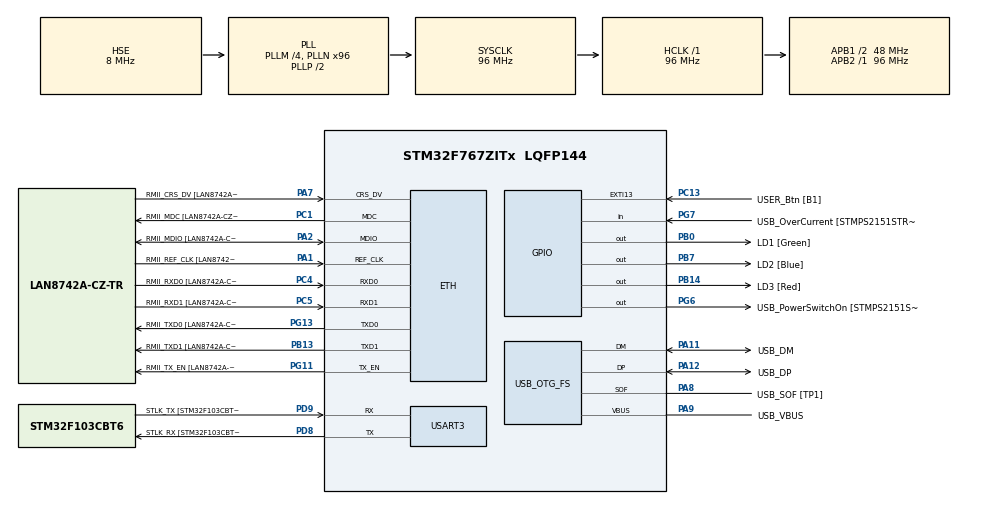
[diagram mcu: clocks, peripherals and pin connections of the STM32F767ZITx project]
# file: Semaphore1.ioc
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ETH.MediaInterface=HAL_ETH_RMII_MODE
ETH.PHY_Name=LAN8742A_PHY_ADDRESS
ETH.PHY_Value=0
ETH.PhyAddress=0
FREERTOS.CountingSemaphores01=CountingSem01,2,Dynamic,NULL,0
FREERTOS.Tasks01=Task01,24,128,StartDefaultTask,Default,NULL,Dynamic,NULL,NULL;Task02,24,128,StartTask02,Default,NULL,Dynamic,NULL,NULL;Task03,24,128,StartTask03,Default,NULL,Dynamic,NULL,NULL
FREERTOS.configUSE_NEWLIB_REENTRANT=1
Mcu.Family=STM32F7
Mcu.Name=STM32F767ZITx
Mcu.Package=LQFP144
NVIC.PriorityGroup=NVIC_PRIORITYGROUP_4
NVIC.TIM6_DAC_IRQn=true\:15\:0\:false\:false\:true\:false\:false\:true\:true
NVIC.TimeBase=TIM6_DAC_IRQn
NVIC.TimeBaseIP=TIM6
PA1.GPIO_Label=RMII_REF_CLK [LAN8742A-CZ-TR_REFCLK0]
PA1.Mode=RMII
PA1.Signal=ETH_REF_CLK
PA10.GPIO_Label=USB_ID
PA10.Signal=USB_OTG_FS_ID
PA11.GPIO_Label=USB_DM
PA11.Mode=Device_Only
PA11.Signal=USB_OTG_FS_DM
PA12.GPIO_Label=USB_DP
PA12.Mode=Device_Only
PA12.Signal=USB_OTG_FS_DP
PA13.GPIO_Label=TMS
PA13.Mode=Serial_Wire
PA13.Signal=SYS_JTMS-SWDIO
PA14.GPIO_Label=TCK
PA14.Mode=Serial_Wire
PA14.Signal=SYS_JTCK-SWCLK
PA2.GPIO_Label=RMII_MDIO [LAN8742A-CZ-TR_MDIO]
PA2.Mode=RMII
PA2.Signal=ETH_MDIO
PA7.GPIO_Label=RMII_CRS_DV [LAN8742A-CZ-TR_CRS_DV]
PA7.Mode=RMII
PA7.Signal=ETH_CRS_DV
PA8.GPIO_Label=USB_SOF [TP1]
PA8.Mode=Activate_SOF_FS
PA8.Signal=USB_OTG_FS_SOF
PA9.GPIO_Label=USB_VBUS
PA9.Mode=Activate_VBUS
PA9.Signal=USB_OTG_FS_VBUS
PB0.GPIO_Label=LD1 [Green]
PB0.Signal=GPIO_Output
PB13.GPIO_Label=RMII_TXD1 [LAN8742A-CZ-TR_TXD1]
PB13.Mode=RMII
PB13.Signal=ETH_TXD1
PB14.GPIO_Label=LD3 [Red]
PB14.Signal=GPIO_Output
PB3.GPIO_Label=SWO
PB3.Signal=SYS_JTDO-SWO
PB7.GPIO_Label=LD2 [Blue]
PB7.Signal=GPIO_Output
PC1.GPIO_Label=RMII_MDC [LAN8742A-CZ-TR_MDC]
PC1.Mode=RMII
PC1.Signal=ETH_MDC
PC13.GPIO_Label=USER_Btn [B1]
PC13.Signal=GPXTI13
PC14/OSC32_IN.Mode=LSE-External-Oscillator
PC14/OSC32_IN.Signal=RCC_OSC32_IN
PC15/OSC32_OUT.Mode=LSE-External-Oscillator
PC15/OSC32_OUT.Signal=RCC_OSC32_OUT
PC4.GPIO_Label=RMII_RXD0 [LAN8742A-CZ-TR_RXD0]
PC4.Mode=RMII
PC4.Signal=ETH_RXD0
PC5.GPIO_Label=RMII_RXD1 [LAN8742A-CZ-TR_RXD1]
PC5.Mode=RMII
PC5.Signal=ETH_RXD1
PD8.GPIO_Label=STLK_RX [STM32F103CBT6_PA3]
PD8.Mode=Asynchronous
PD8.Signal=USART3_TX
PD9.GPIO_Label=STLK_TX [STM32F103CBT6_PA2]
PD9.Mode=Asynchronous
PD9.Signal=USART3_RX
PG11.GPIO_Label=RMII_TX_EN [LAN8742A-CZ-TR_TXEN]
PG11.Mode=RMII
PG11.Signal=ETH_TX_EN
PG13.GPIO_Label=RMII_TXD0 [LAN8742A-CZ-TR_TXD0]
PG13.Mode=RMII
PG13.Signal=ETH_TXD0
PG6.GPIO_Label=USB_PowerSwitchOn [STMPS2151STR_EN]
PG6.Signal=GPIO_Output
PG7.GPIO_Label=USB_OverCurrent [STMPS2151STR_FAULT]
PG7.Signal=GPIO_Input
PH0/OSC_IN.GPIO_Label=MCO [STM32F103CBT6_PA8]
PH0/OSC_IN.Mode=HSE-External-Clock-Source
PH0/OSC_IN.Signal=RCC_OSC_IN
PH1/OSC_OUT.Mode=HSE-External-Clock-Source
PH1/OSC_OUT.Signal=RCC_OSC_OUT
ProjectManager.HeapSize=0x200
ProjectManager.StackSize=0x400
ProjectManager.TargetToolchain=STM32CubeIDE
RCC.48MHZClocksFreq_Value=24000000
RCC.AHBFreq_Value=96000000
RCC.APB1CLKDivider=RCC_HCLK_DIV2
RCC.APB1Freq_Value=48000000
RCC.APB1TimFreq_Value=96000000
RCC.APB2Freq_Value=96000000
RCC.APB2TimFreq_Value=96000000
RCC.CortexFreq_Value=96000000
RCC.HCLKFreq_Value=96000000
RCC.HSE_VALUE=8000000
RCC.HSI_VALUE=16000000
RCC.PLLM=4
RCC.PLLMUL=RCC_PLL_MUL9
RCC.PLLN=96
RCC.PLLQ=4
RCC.PRESCALERUSB=RCC_USBCLKSOURCE_PLL_DIV1_5
RCC.SYSCLKFreq_VALUE=96000000
RCC.SYSCLKSource=RCC_SYSCLKSOURCE_PLLCLK
RCC.SYSCLKSourceVirtual=RCC_SYSCLKSOURCE_PLLCLK
RCC.USBFreq_Value=48000000
RCC.VCOOutputFreq_Value=192000000
USART3.VirtualMode-Asynchronous=VM_ASYNC
USB_OTG_FS.VirtualMode=Device_Only
VP_FREERTOS_VS_CMSIS_V2.Mode=CMSIS_V2
VP_SYS_VS_tim6.Mode=TIM6
board=NUCLEO-F767ZI

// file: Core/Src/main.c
/* USER CODE BEGIN Header */
/**
  ******************************************************************************
  * @file           : main.c
  * @brief          : Main program body
  ******************************************************************************
  * @attention
  *
  * Copyright (c) 2025 STMicroelectronics.
  * All rights reserved.
  *
  * This software is licensed under terms that can be found in the LICENSE file
  * in the root directory of this software component.
  * If no LICENSE file comes with this software, it is provided AS-IS.
  *
  ******************************************************************************
  */
/* USER CODE END Header */
#include "main.h"
#include "string.h"
#include "cmsis_os.h"

#if defined ( __ICCARM__ ) /*!< IAR Compiler */
#pragma location=0x2007c000
ETH_DMADescTypeDef  DMARxDscrTab[ETH_RX_DESC_CNT]; /* Ethernet Rx DMA Descriptors */
#pragma location=0x2007c0a0
ETH_DMADescTypeDef  DMATxDscrTab[ETH_TX_DESC_CNT]; /* Ethernet Tx DMA Descriptors */

#elif defined ( __CC_ARM )  /* MDK ARM Compiler */

__attribute__((at(0x2007c000))) ETH_DMADescTypeDef  DMARxDscrTab[ETH_RX_DESC_CNT]; /* Ethernet Rx DMA Descriptors */
__attribute__((at(0x2007c0a0))) ETH_DMADescTypeDef  DMATxDscrTab[ETH_TX_DESC_CNT]; /* Ethernet Tx DMA Descriptors */

#elif defined ( __GNUC__ ) /* GNU Compiler */

ETH_DMADescTypeDef DMARxDscrTab[ETH_RX_DESC_CNT] __attribute__((section(".RxDecripSection"))); /* Ethernet Rx DMA Descriptors */
ETH_DMADescTypeDef DMATxDscrTab[ETH_TX_DESC_CNT] __attribute__((section(".TxDecripSection")));   /* Ethernet Tx DMA Descriptors */
#endif

ETH_TxPacketConfig TxConfig;

ETH_HandleTypeDef heth;

UART_HandleTypeDef huart3;

PCD_HandleTypeDef hpcd_USB_OTG_FS;

/* Definitions for Task01 */
osThreadId_t Task01Handle;
const osThreadAttr_t Task01_attributes = {
  .name = "Task01",
  .stack_size = 128 * 4,
  .priority = (osPriority_t) osPriorityNormal,
};
/* Definitions for Task02 */
osThreadId_t Task02Handle;
const osThreadAttr_t Task02_attributes = {
  .name = "Task02",
  .stack_size = 128 * 4,
  .priority = (osPriority_t) osPriorityNormal,
};
/* Definitions for Task03 */
osThreadId_t Task03Handle;
const osThreadAttr_t Task03_attributes = {
  .name = "Task03",
  .stack_size = 128 * 4,
  .priority = (osPriority_t) osPriorityNormal,
};
/* Definitions for CountingSem01 */
osSemaphoreId_t CountingSem01Handle;
const osSemaphoreAttr_t CountingSem01_attributes = {
  .name = "CountingSem01"
};
/* USER CODE BEGIN PV */
int __io_putchar(int ch) {
	HAL_UART_Transmit(&huart3,(uint8_t*)&ch,1,HAL_MAX_DELAY); return ch;
}
/* USER CODE END PV */

void SystemClock_Config(void);
static void MX_GPIO_Init(void);
static void MX_ETH_Init(void);
static void MX_USART3_UART_Init(void);
static void MX_USB_OTG_FS_PCD_Init(void);
void StartDefaultTask(void *argument);
void StartTask02(void *argument);
void StartTask03(void *argument);

int main(void)
{

  /* MCU Configuration--------------------------------------------------------*/

  /* Reset of all peripherals, Initializes the Flash interface and the Systick. */
  HAL_Init();

  /* Configure the system clock */
  SystemClock_Config();

  /* Initialize all configured peripherals */
  MX_GPIO_Init();
  MX_ETH_Init();
  MX_USART3_UART_Init();
  MX_USB_OTG_FS_PCD_Init();

  /* Init scheduler */
  osKernelInitialize();

  /* Create the semaphores(s) */
  /* creation of CountingSem01 */
  CountingSem01Handle = osSemaphoreNew(2, 2, &CountingSem01_attributes);

  /* Create the thread(s) */
  /* creation of Task01 */
  Task01Handle = osThreadNew(StartDefaultTask, NULL, &Task01_attributes);

  /* creation of Task02 */
  Task02Handle = osThreadNew(StartTask02, NULL, &Task02_attributes);

  /* creation of Task03 */
  Task03Handle = osThreadNew(StartTask03, NULL, &Task03_attributes);

  /* Start scheduler */
  osKernelStart();

  /* We should never get here as control is now taken by the scheduler */

  /* Infinite loop */
  while (1)
  {

  }
}

void SystemClock_Config(void)
{
  RCC_OscInitTypeDef RCC_OscInitStruct = {0};
  RCC_ClkInitTypeDef RCC_ClkInitStruct = {0};

  /** Configure LSE Drive Capability
  */
  HAL_PWR_EnableBkUpAccess();

  /** Configure the main internal regulator output voltage
  */
  __HAL_RCC_PWR_CLK_ENABLE();
  __HAL_PWR_VOLTAGESCALING_CONFIG(PWR_REGULATOR_VOLTAGE_SCALE3);

  /** Initializes the RCC Oscillators according to the specified parameters
  * in the RCC_OscInitTypeDef structure.
  */
  RCC_OscInitStruct.OscillatorType = RCC_OSCILLATORTYPE_HSE;
  RCC_OscInitStruct.HSEState = RCC_HSE_BYPASS;
  RCC_OscInitStruct.PLL.PLLState = RCC_PLL_ON;
  RCC_OscInitStruct.PLL.PLLSource = RCC_PLLSOURCE_HSE;
  RCC_OscInitStruct.PLL.PLLM = 4;
  RCC_OscInitStruct.PLL.PLLN = 96;
  RCC_OscInitStruct.PLL.PLLP = RCC_PLLP_DIV2;
  RCC_OscInitStruct.PLL.PLLQ = 4;
  RCC_OscInitStruct.PLL.PLLR = 2;
  if (HAL_RCC_OscConfig(&RCC_OscInitStruct) != HAL_OK)
  {
    Error_Handler();
  }

  /** Activate the Over-Drive mode
  */
  if (HAL_PWREx_EnableOverDrive() != HAL_OK)
  {
    Error_Handler();
  }

  /** Initializes the CPU, AHB and APB buses clocks
  */
  RCC_ClkInitStruct.ClockType = RCC_CLOCKTYPE_HCLK|RCC_CLOCKTYPE_SYSCLK
                              |RCC_CLOCKTYPE_PCLK1|RCC_CLOCKTYPE_PCLK2;
  RCC_ClkInitStruct.SYSCLKSource = RCC_SYSCLKSOURCE_PLLCLK;
  RCC_ClkInitStruct.AHBCLKDivider = RCC_SYSCLK_DIV1;
  RCC_ClkInitStruct.APB1CLKDivider = RCC_HCLK_DIV2;
  RCC_ClkInitStruct.APB2CLKDivider = RCC_HCLK_DIV1;

  if (HAL_RCC_ClockConfig(&RCC_ClkInitStruct, FLASH_LATENCY_3) != HAL_OK)
  {
    Error_Handler();
  }
}

static void MX_ETH_Init(void)
{

   static uint8_t MACAddr[6];

  heth.Instance = ETH;
  MACAddr[0] = 0x00;
  MACAddr[1] = 0x80;
  MACAddr[2] = 0xE1;
  MACAddr[3] = 0x00;
  MACAddr[4] = 0x00;
  MACAddr[5] = 0x00;
  heth.Init.MACAddr = &MACAddr[0];
  heth.Init.MediaInterface = HAL_ETH_RMII_MODE;
  heth.Init.TxDesc = DMATxDscrTab;
  heth.Init.RxDesc = DMARxDscrTab;
  heth.Init.RxBuffLen = 1524;

  if (HAL_ETH_Init(&heth) != HAL_OK)
  {
    Error_Handler();
  }

  memset(&TxConfig, 0 , sizeof(ETH_TxPacketConfig));
  TxConfig.Attributes = ETH_TX_PACKETS_FEATURES_CSUM | ETH_TX_PACKETS_FEATURES_CRCPAD;
  TxConfig.ChecksumCtrl = ETH_CHECKSUM_IPHDR_PAYLOAD_INSERT_PHDR_CALC;
  TxConfig.CRCPadCtrl = ETH_CRC_PAD_INSERT;

}

static void MX_USART3_UART_Init(void)
{

  huart3.Instance = USART3;
  huart3.Init.BaudRate = 115200;
  huart3.Init.WordLength = UART_WORDLENGTH_8B;
  huart3.Init.StopBits = UART_STOPBITS_1;
  huart3.Init.Parity = UART_PARITY_NONE;
  huart3.Init.Mode = UART_MODE_TX_RX;
  huart3.Init.HwFlowCtl = UART_HWCONTROL_NONE;
  huart3.Init.OverSampling = UART_OVERSAMPLING_16;
  huart3.Init.OneBitSampling = UART_ONE_BIT_SAMPLE_DISABLE;
  huart3.AdvancedInit.AdvFeatureInit = UART_ADVFEATURE_NO_INIT;
  if (HAL_UART_Init(&huart3) != HAL_OK)
  {
    Error_Handler();
  }

}

static void MX_USB_OTG_FS_PCD_Init(void)
{

  hpcd_USB_OTG_FS.Instance = USB_OTG_FS;
  hpcd_USB_OTG_FS.Init.dev_endpoints = 6;
  hpcd_USB_OTG_FS.Init.speed = PCD_SPEED_FULL;
  hpcd_USB_OTG_FS.Init.dma_enable = DISABLE;
  hpcd_USB_OTG_FS.Init.phy_itface = PCD_PHY_EMBEDDED;
  hpcd_USB_OTG_FS.Init.Sof_enable = ENABLE;
  hpcd_USB_OTG_FS.Init.low_power_enable = DISABLE;
  hpcd_USB_OTG_FS.Init.lpm_enable = DISABLE;
  hpcd_USB_OTG_FS.Init.vbus_sensing_enable = ENABLE;
  hpcd_USB_OTG_FS.Init.use_dedicated_ep1 = DISABLE;
  if (HAL_PCD_Init(&hpcd_USB_OTG_FS) != HAL_OK)
  {
    Error_Handler();
  }

}

static void MX_GPIO_Init(void)
{
  GPIO_InitTypeDef GPIO_InitStruct = {0};

  /* GPIO Ports Clock Enable */
  __HAL_RCC_GPIOC_CLK_ENABLE();
  __HAL_RCC_GPIOH_CLK_ENABLE();
  __HAL_RCC_GPIOA_CLK_ENABLE();
  __HAL_RCC_GPIOB_CLK_ENABLE();
  __HAL_RCC_GPIOD_CLK_ENABLE();
  __HAL_RCC_GPIOG_CLK_ENABLE();

  /*Configure GPIO pin Output Level */
  HAL_GPIO_WritePin(GPIOB, LD1_Pin|LD3_Pin|LD2_Pin, GPIO_PIN_RESET);

  /*Configure GPIO pin Output Level */
  HAL_GPIO_WritePin(USB_PowerSwitchOn_GPIO_Port, USB_PowerSwitchOn_Pin, GPIO_PIN_RESET);

  /*Configure GPIO pin : USER_Btn_Pin */
  GPIO_InitStruct.Pin = USER_Btn_Pin;
  GPIO_InitStruct.Mode = GPIO_MODE_IT_RISING;
  GPIO_InitStruct.Pull = GPIO_NOPULL;
  HAL_GPIO_Init(USER_Btn_GPIO_Port, &GPIO_InitStruct);

  /*Configure GPIO pins : LD1_Pin LD3_Pin LD2_Pin */
  GPIO_InitStruct.Pin = LD1_Pin|LD3_Pin|LD2_Pin;
  GPIO_InitStruct.Mode = GPIO_MODE_OUTPUT_PP;
  GPIO_InitStruct.Pull = GPIO_NOPULL;
  GPIO_InitStruct.Speed = GPIO_SPEED_FREQ_LOW;
  HAL_GPIO_Init(GPIOB, &GPIO_InitStruct);

  /*Configure GPIO pin : USB_PowerSwitchOn_Pin */
  GPIO_InitStruct.Pin = USB_PowerSwitchOn_Pin;
  GPIO_InitStruct.Mode = GPIO_MODE_OUTPUT_PP;
  GPIO_InitStruct.Pull = GPIO_NOPULL;
  GPIO_InitStruct.Speed = GPIO_SPEED_FREQ_LOW;
  HAL_GPIO_Init(USB_PowerSwitchOn_GPIO_Port, &GPIO_InitStruct);

  /*Configure GPIO pin : USB_OverCurrent_Pin */
  GPIO_InitStruct.Pin = USB_OverCurrent_Pin;
  GPIO_InitStruct.Mode = GPIO_MODE_INPUT;
  GPIO_InitStruct.Pull = GPIO_NOPULL;
  HAL_GPIO_Init(USB_OverCurrent_GPIO_Port, &GPIO_InitStruct);

}

void StartDefaultTask(void *argument)
{
  /* USER CODE BEGIN 5 */
	char buf[64];
  /* Infinite loop */
  for(;;)
  {
    snprintf(buf, sizeof(buf), "T1: Tentando adquirir... count=%lu\r\n", osSemaphoreGetCount(CountingSem01Handle));
    HAL_UART_Transmit(&huart3, (uint8_t*)buf, strlen(buf), HAL_MAX_DELAY);
    osSemaphoreAcquire(CountingSem01Handle, osWaitForever);

    snprintf(buf, sizeof(buf), "T1: Adquirido: %lu\r\n", osSemaphoreGetCount(CountingSem01Handle));
    HAL_UART_Transmit(&huart3, (uint8_t*)buf, strlen(buf), HAL_MAX_DELAY);
    osDelay(500);
    osSemaphoreRelease(CountingSem01Handle);

    snprintf(buf, sizeof(buf), "T1: Liberado: %lu\r\n", osSemaphoreGetCount(CountingSem01Handle));
    HAL_UART_Transmit(&huart3, (uint8_t*)buf, strlen(buf), HAL_MAX_DELAY);
    osDelay(500);
  }
  /* USER CODE END 5 */
}

void StartTask02(void *argument)
{
  /* USER CODE BEGIN StartTask02 */
	char buf2[64];
  /* Infinite loop */
  for(;;)
  {
	  snprintf(buf2, sizeof(buf2), "T2: Tentando adquirir... count=%lu\r\n", osSemaphoreGetCount(CountingSem01Handle));
	  HAL_UART_Transmit(&huart3, (uint8_t*)buf2, strlen(buf2), HAL_MAX_DELAY);
	  osSemaphoreAcquire(CountingSem01Handle, osWaitForever);

	  snprintf(buf2, sizeof(buf2), "T2: Adquirido: %lu\r\n", osSemaphoreGetCount(CountingSem01Handle));
	  HAL_UART_Transmit(&huart3, (uint8_t*)buf2, strlen(buf2), HAL_MAX_DELAY);
	  osDelay(500);
	  osSemaphoreRelease(CountingSem01Handle);

	  snprintf(buf2, sizeof(buf2), "T2: Liberado: %lu\r\n", osSemaphoreGetCount(CountingSem01Handle));
	  HAL_UART_Transmit(&huart3, (uint8_t*)buf2, strlen(buf2), HAL_MAX_DELAY);
	  osDelay(500);
  }
  /* USER CODE END StartTask02 */
}

void StartTask03(void *argument)
{
  /* USER CODE BEGIN StartTask03 */
	char buf3[64];
  /* Infinite loop */
  for(;;)
  {
	  snprintf(buf3, sizeof(buf3), "T3: Tentando adquirir... count=%lu\r\n", osSemaphoreGetCount(CountingSem01Handle));
	  HAL_UART_Transmit(&huart3, (uint8_t*)buf3, strlen(buf3), HAL_MAX_DELAY);
	  osSemaphoreAcquire(CountingSem01Handle, osWaitForever);

	  snprintf(buf3, sizeof(buf3), "T3: Adquirido: %lu\r\n", osSemaphoreGetCount(CountingSem01Handle));
	  HAL_UART_Transmit(&huart3, (uint8_t*)buf3, strlen(buf3), HAL_MAX_DELAY);

	  osSemaphoreRelease(CountingSem01Handle);

	  snprintf(buf3, sizeof(buf3), "T3: Liberado: %lu\r\n", osSemaphoreGetCount(CountingSem01Handle));
	  HAL_UART_Transmit(&huart3, (uint8_t*)buf3, strlen(buf3), HAL_MAX_DELAY);
	  osDelay(500);
  }
  /* USER CODE END StartTask03 */
}

void HAL_TIM_PeriodElapsedCallback(TIM_HandleTypeDef *htim)
{
  if (htim->Instance == TIM6) {
    HAL_IncTick();
  }
}

void Error_Handler(void)
{
  __disable_irq();
  while (1)
  {
  }
}
